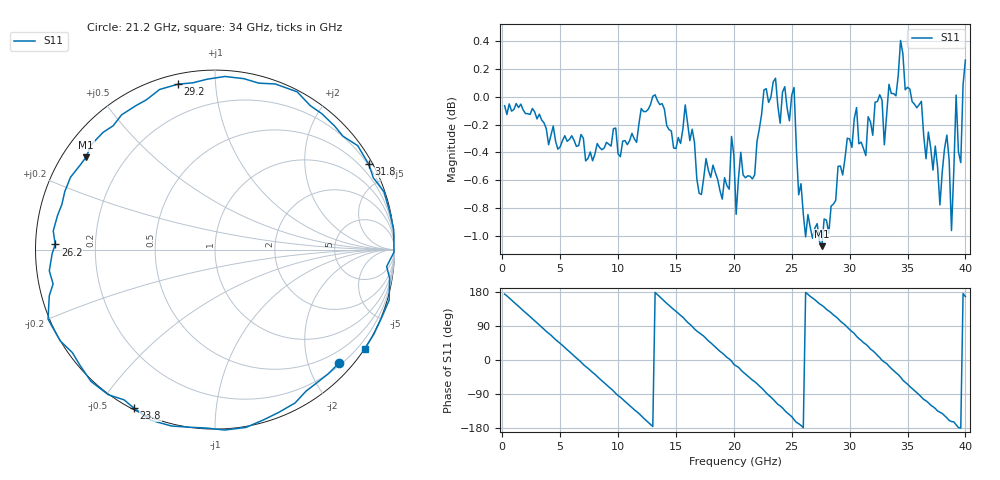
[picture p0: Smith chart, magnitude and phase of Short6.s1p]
# MHz MA S R 50.0
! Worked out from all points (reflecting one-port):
!   200 points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, 200 MHz to 40 GHz, reference 50 ohm
!   lowest |S11| = -1.1 dB at 27.6 GHz (marker M1), VSWR 16.21, Z = 3.4 + j16 ohm
!   phase of S11 starts at 174 deg and turns -1087 deg over the sweep
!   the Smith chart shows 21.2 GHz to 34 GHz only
!   S11 on the Smith chart (normalised r, x): 21.2 GHz: 0.25, -2.56; 23.8 GHz: 0.01, -0.61; 26.2 GHz: 0.06, +0.02; 29.2 GHz: 0.05, +0.80; 31.8 GHz: 0.16, +3.86; 34 GHz: -0.00, -3.32
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200  0.9926 173.9
2800  0.9875 103.1
5200  0.9644 38.5
6200  0.9646 10.6
7600  0.9554 -27.5
9000  0.963 -65.4
10200  0.9517 -98.2
11800  0.9777 -141.1
13000  1 -175.5
15200  0.9668 123.1
16400  0.9735 88.7
17600  0.9502 56.8
19200  0.9353 13.1
20200  0.9074 -15.6
21200  0.9367 -42.4
22600  1.006 -80.1
23800  0.9925 -117.0
25200  1.008 -157.4
26200  0.8907 178.1
27600  0.8838 144.4
29200  0.9444 102.6
30200  0.959 75.2
31800  0.9795 29.0
32800  0.9973 -0.8
34000  1.001 -33.5
35200  1.006 -69.9
37400  0.96 -128.0
40000  1.031 167.4
